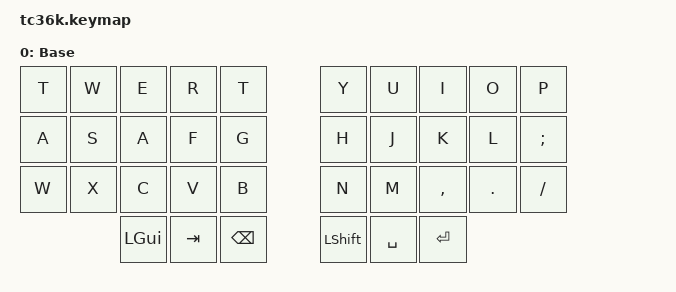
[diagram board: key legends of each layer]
#include <behaviors.dtsi>
#include <dt-bindings/zmk/keys.h>

/ {
    keymap {
        compatible = "zmk,keymap";

        default_layer { // Layer 0
            display-name = "Base";
            bindings = <
                &kp T &kp W &kp E    &kp R   &kp T    &kp Y     &kp U     &kp I     &kp O      &kp P
                &kp A &kp S &kp A    &kp F   &kp G    &kp H     &kp J     &kp K     &kp L      &kp SEMI
                &kp W &kp X &kp C    &kp V   &kp B    &kp N     &kp M     &kp COMMA &kp DOT    &kp SLASH
                            &kp LGUI &kp TAB &kp BSPC &kp LSHFT &kp SPACE &kp RET
            >;
        };

        // Empty layers for ZMK Studio:
        extra1 {
            status = "reserved";
        };
        extra2 {
            status = "reserved";
        };
        extra3 {
            status = "reserved";
        };
        extra4 {
            status = "reserved";
        };
        extra5 {
            status = "reserved";
        };
    };
};

/ {
    combos {
        compatible = "zmk,combos";

        // Top left (Q) + top right (P) = &studio_unlock
        combo_sys_reset {
            timeout-ms = <100>;
            key-positions = <0 9>;
            bindings = <&studio_unlock>;
        };
    };
};
